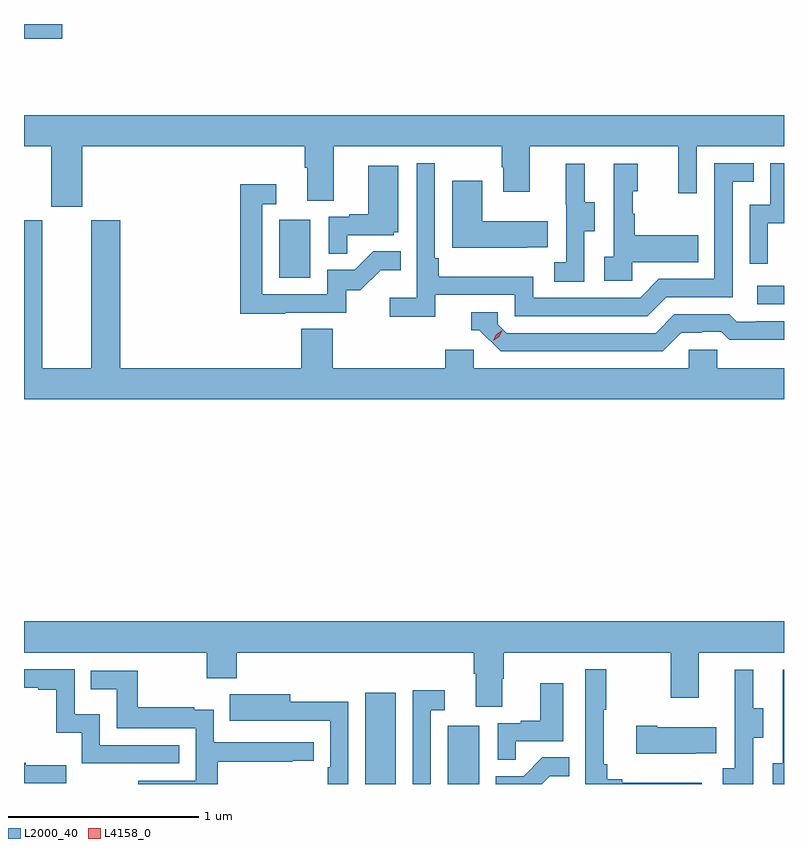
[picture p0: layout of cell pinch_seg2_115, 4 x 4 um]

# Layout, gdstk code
import gdstk
lib = gdstk.Library(unit=1e-6, precision=1e-09)
def R(c, l, rs):  # rectangles x0, y0, x1, y1
    for r in rs: c.add(gdstk.rectangle(r[:2], r[2:], *l))
def P(c, l, *ps):  # polygons
    for p in ps: c.add(gdstk.Polygon(p, *l))
L2000_40 = (2000, 40)
L4158_0 = (4158, 0)

pinch_seg2_115 = lib.new_cell('pinch_seg2_115')
R(pinch_seg2_115, L2000_40, [(1059.989,629.628,1060.15,630.109), (1060.424,629.628,1060.588,629.935), (1062.051,632.154,1062.193,632.25), (1059.536,632.292,1059.7,632.599), (1058.193,633.55,1058.395,633.628)])
P(pinch_seg2_115, L2000_40, [(1058.193,632.984),(1058.336,632.984),(1058.336,632.667),(1058.5,632.667),(1058.5,632.984),(1059.671,632.984),(1059.671,632.872),(1059.683,632.872),(1059.683,632.698),(1059.823,632.698),(1059.823,632.984),(1060.708,632.984),(1060.708,632.873),(1060.715,632.873),(1060.715,632.745),(1060.855,632.745),(1060.855,632.984),(1061.636,632.984),(1061.636,632.736),(1061.733,632.736),(1061.733,632.984),(1062.193,632.984),(1062.193,633.148),(1058.193,633.148)],
  [(1060.358,632.202),(1060.776,632.202),(1060.776,632.091),(1061.473,632.091),(1061.572,632.19),(1061.922,632.19),(1061.922,632.799),(1062.035,632.799),(1062.035,632.895),(1061.826,632.895),(1061.826,632.286),(1061.535,632.286),(1061.436,632.187),(1060.872,632.187),(1060.872,632.299),(1060.376,632.299),(1060.376,632.395),(1060.356,632.395),(1060.356,632.896),(1060.26,632.896),(1060.26,632.188),(1060.119,632.188),(1060.119,632.086),(1060.358,632.086)],
  [(1062.108,632.579),(1062.193,632.579),(1062.193,632.895),(1062.12,632.895),(1062.12,632.676),(1062.012,632.676),(1062.012,632.367),(1062.108,632.367)],
  [(1061.394,632.375),(1061.741,632.375),(1061.741,632.515),(1061.407,632.515),(1061.407,632.63),(1061.397,632.63),(1061.397,632.748),(1061.422,632.748),(1061.422,632.893),(1061.298,632.893),(1061.298,632.402),(1061.247,632.402),(1061.247,632.277),(1061.394,632.277)],
  [(1061.142,632.536),(1061.197,632.536),(1061.197,632.691),(1061.143,632.691),(1061.143,632.893),(1061.045,632.893),(1061.045,632.679),(1061.046,632.679),(1061.046,632.375),(1060.983,632.375),(1060.983,632.272),(1061.142,632.272)],
  [(1059.893,632.517),(1060.14,632.517),(1060.14,632.532),(1060.162,632.532),(1060.162,632.881),(1060.004,632.881),(1060.004,632.626),(1059.905,632.626),(1059.905,632.613),(1059.798,632.613),(1059.798,632.419),(1059.893,632.419)],
  [(1060.841,632.453),(1060.949,632.453),(1060.949,632.59),(1060.606,632.59),(1060.606,632.803),(1060.448,632.803),(1060.448,632.45),(1060.841,632.45)],
  [(1059.569,632.109),(1059.888,632.109),(1059.888,632.226),(1059.964,632.226),(1060.071,632.333),(1060.175,632.333),(1060.175,632.432),(1060.031,632.432),(1059.933,632.334),(1059.789,632.334),(1059.789,632.205),(1059.447,632.205),(1059.447,632.679),(1059.52,632.679),(1059.52,632.785),(1059.331,632.785),(1059.331,632.104),(1059.569,632.104)],
  [(1062.193,631.816),(1061.841,631.816),(1061.841,631.914),(1061.691,631.914),(1061.691,631.816),(1060.56,631.816),(1060.56,631.914),(1060.409,631.914),(1060.409,631.816),(1059.818,631.816),(1059.818,632.024),(1059.653,632.024),(1059.653,631.816),(1058.699,631.816),(1058.699,632.595),(1058.546,632.595),(1058.546,631.816),(1058.29,631.816),(1058.29,632.595),(1058.193,632.595),(1058.193,631.652),(1062.193,631.652)],
  [(1061.653,632.004),(1061.76,632.004),(1061.76,632.007),(1061.863,632.007),(1061.905,631.965),(1062.138,631.965),(1062.138,631.967),(1062.193,631.967),(1062.193,632.064),(1062.043,632.064),(1062.043,632.061),(1061.944,632.061),(1061.905,632.1),(1061.616,632.1),(1061.517,632.001),(1060.734,632.001),(1060.686,632.049),(1060.686,632.112),(1060.547,632.112),(1060.547,632.016),(1060.59,632.016),(1060.701,631.905),(1061.554,631.905)],
  [(1060.711,630.183),(1060.719,630.183),(1060.719,630.32),(1061.596,630.32),(1061.596,630.081),(1061.743,630.081),(1061.743,630.32),(1062.193,630.32),(1062.193,630.484),(1058.193,630.484),(1058.193,630.32),(1059.154,630.32),(1059.154,630.185),(1059.314,630.185),(1059.314,630.32),(1060.559,630.32),(1060.559,630.208),(1060.571,630.208),(1060.571,630.034),(1060.711,630.034)],
  [(1061.76,629.635),(1061.341,629.635),(1061.341,629.654),(1061.264,629.654),(1061.264,629.731),(1061.245,629.731),(1061.245,630.019),(1061.257,630.019),(1061.257,630.232),(1061.148,630.232),(1061.148,629.628),(1061.76,629.628)],
  [(1059.011,629.832),(1058.592,629.832),(1058.592,629.995),(1058.46,629.995),(1058.46,630.231),(1058.193,630.231),(1058.193,630.135),(1058.267,630.135),(1058.267,630.123),(1058.363,630.123),(1058.363,629.897),(1058.496,629.897),(1058.496,629.736),(1059.011,629.736)],
  [(1062.03,629.872),(1062.085,629.872),(1062.085,630.027),(1062.031,630.027),(1062.031,630.229),(1061.933,630.229),(1061.933,630.015),(1061.934,630.015),(1061.934,629.711),(1061.871,629.711),(1061.871,629.628),(1062.03,629.628)],
  [(1062.193,630.229),(1062.186,630.229),(1062.186,629.738),(1062.135,629.738),(1062.135,629.628),(1062.193,629.628)],
  [(1059.212,629.746),(1059.605,629.746),(1059.605,629.751),(1059.718,629.751),(1059.718,629.847),(1059.192,629.847),(1059.192,630.019),(1059.089,630.019),(1059.089,630.031),(1058.791,630.031),(1058.791,630.225),(1058.545,630.225),(1058.545,630.128),(1058.68,630.128),(1058.68,629.922),(1059.096,629.922),(1059.096,629.646),(1058.795,629.646),(1058.795,629.628),(1059.212,629.628)],
  [(1060.781,629.853),(1061.032,629.853),(1061.032,630.157),(1060.91,630.157),(1060.91,629.962),(1060.807,629.962),(1060.807,629.949),(1060.686,629.949),(1060.686,629.755),(1060.781,629.755)],
  [(1060.335,630.015),(1060.408,630.015),(1060.408,630.121),(1060.239,630.121),(1060.239,629.628),(1060.335,629.628)],
  [(1059.9,630.062),(1059.595,630.062),(1059.595,630.1),(1059.277,630.1),(1059.277,629.96),(1059.491,629.96),(1059.491,629.961),(1059.804,629.961),(1059.804,629.716),(1059.791,629.716),(1059.791,629.628),(1059.9,629.628)],
  [(1061.729,629.789),(1061.837,629.789),(1061.837,629.926),(1061.527,629.926),(1061.527,629.934),(1061.415,629.934),(1061.415,629.786),(1061.729,629.786)],
  [(1060.959,629.669),(1061.063,629.669),(1061.063,629.768),(1060.92,629.768),(1060.822,629.67),(1060.677,629.67),(1060.677,629.628),(1060.918,629.628)],
  [(1058.416,629.728),(1058.203,629.728),(1058.203,629.74),(1058.193,629.74),(1058.193,629.631),(1058.416,629.631)])
P(pinch_seg2_115, L4158_0, [(1060.664,631.962),(1060.664,631.962),(1060.679,631.995),(1060.71,632.015),(1060.71,632.015),(1060.71,632.014),(1060.694,631.982),(1060.664,631.962)])

lib.write_gds('pinch_seg2_115.gds')
